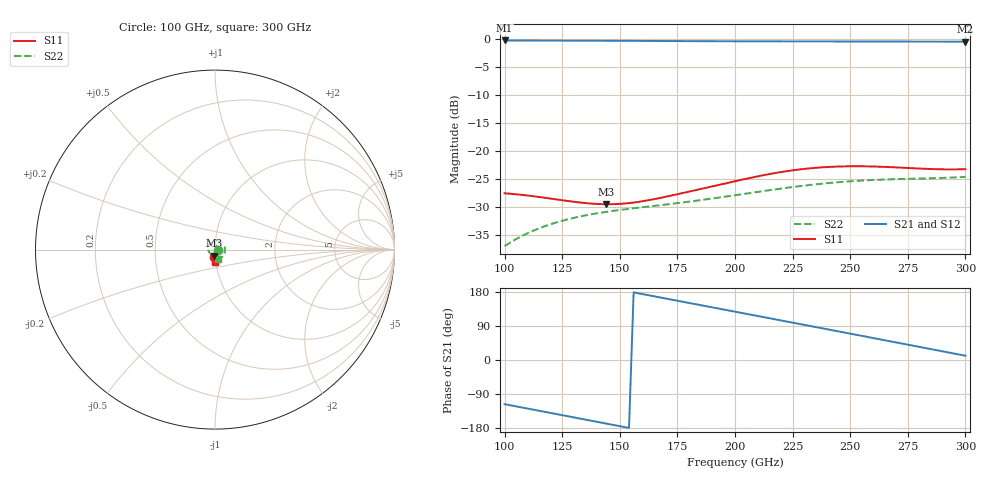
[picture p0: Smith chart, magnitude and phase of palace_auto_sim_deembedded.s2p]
! Created with skrf 1.11.0 (http://scikit-rf.org).
# GHz S DB R 50.0
!freq dBS11 angS11 dBS21 angS21 dBS12 angS12 dBS22 angS22
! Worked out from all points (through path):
!   101 points, 100 GHz to 300 GHz, reference 50 ohm
!   highest |S21| = -0.35 dB at 100 GHz (marker M1); lowest = -0.6 dB at 300 GHz (marker M2)
!   group delay of S21, straight-line fit = 3.22 ps
!   lowest |S11| = -29.6 dB at 144 GHz (marker M3), VSWR 1.07, Z = 49.6 - j3.28 ohm
!   |S11| at or under -10 dB: start of sweep to end of sweep
!   |S22| runs from -37.1 to -24.7 dB; largest |S21 - S12| = 1.1e-14
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100  -27.63 -96.8  -0.35 -116.6  -0.35 -116.6  -37.08 2.2
108  -27.94 -100.1  -0.36 -125.9  -0.36 -125.9  -35.16 -6.9
118  -28.47 -102.3  -0.37 -137.5  -0.37 -137.5  -33.43 -21.6
126  -28.93 -102.1  -0.38 -146.8  -0.38 -146.8  -32.43 -35.2
134  -29.34 -100.0  -0.39 -156.0  -0.39 -156.0  -31.67 -50.0
144  -29.59 -95.0  -0.40 -167.7  -0.40 -167.7  -30.96 -70.1
156  -29.29 -87.7  -0.42 178.4  -0.42 178.4  -30.31 -96.4
168  -28.42 -81.8  -0.45 164.5  -0.45 164.5  -29.74 -124.8
176  -27.71 -79.3  -0.46 155.2  -0.46 155.2  -29.34 -144.6
184  -26.97 -77.7  -0.48 146.0  -0.48 146.0  -28.91 -164.5
200  -25.49 -76.9  -0.50 127.5  -0.50 127.5  -27.98 156.3
210  -24.60 -78.0  -0.51 116.0  -0.51 116.0  -27.38 133.0
218  -23.98 -79.8  -0.51 106.7  -0.51 106.7  -26.91 115.0
226  -23.48 -82.2  -0.52 97.4  -0.52 97.4  -26.47 97.4
234  -23.13 -84.9  -0.52 88.1  -0.52 88.1  -26.08 80.1
242  -22.91 -87.5  -0.52 78.9  -0.52 78.9  -25.75 62.9
250  -22.81 -89.8  -0.53 69.6  -0.53 69.6  -25.50 45.7
258  -22.83 -91.7  -0.53 60.3  -0.53 60.3  -25.30 28.2
268  -22.98 -93.1  -0.54 48.6  -0.54 48.6  -25.14 5.9
284  -23.29 -92.3  -0.55 30.0  -0.55 30.0  -24.97 -31.3
292  -23.37 -90.5  -0.56 20.6  -0.56 20.6  -24.86 -50.8
300  -23.33 -88.2  -0.57 11.3  -0.57 11.3  -24.71 -70.7
